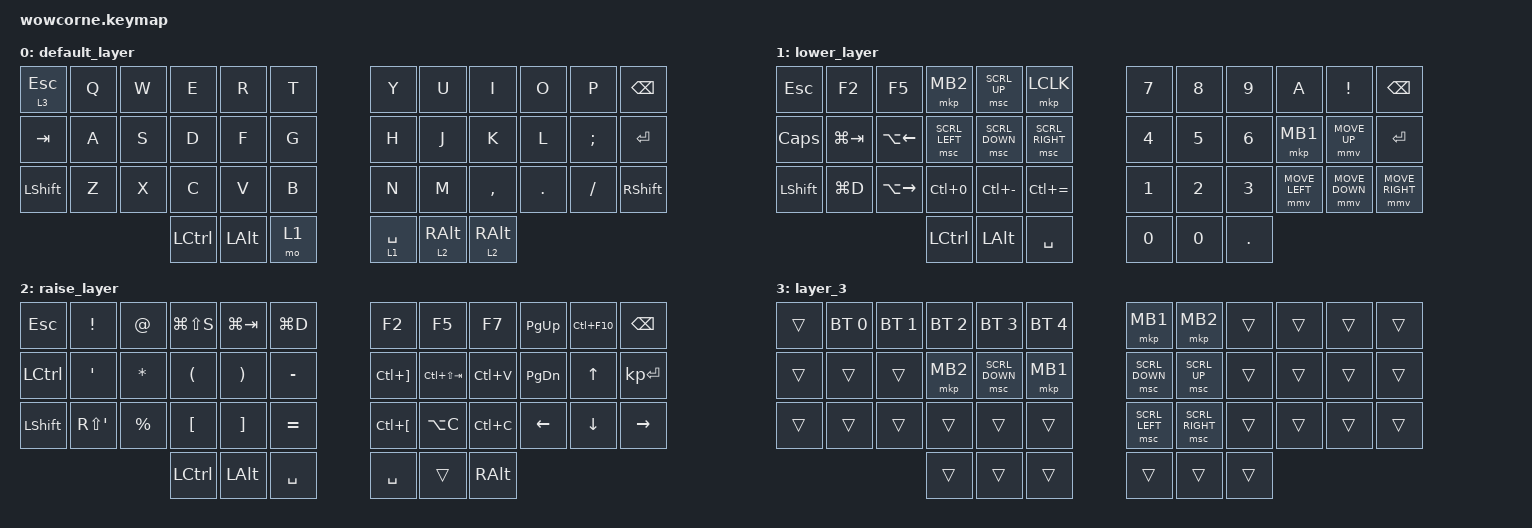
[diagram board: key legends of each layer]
/*
 * Copyright (c) 2020 The ZMK Contributors
 *
 * SPDX-License-Identifier: MIT
 */

#include <dt-bindings/zmk/mouse.h>
#include <behaviors.dtsi>
#include <dt-bindings/zmk/keys.h>
#include <dt-bindings/zmk/bt.h>
#include <behaviors/mouse_keys.dtsi>


#define WIN 0
#define MAC 1
#define NAV 2
#define SYM 3
#define FN 4
#define CFG 5
#define MSE 6

//universial keycodes

#define L_SYM &mo SYM
#define L_FN  &mo FN
#define L_CFG &mo CFG
#define L_NAV &mo NAV
#define L_MSE &mo MSE
#define TAB_C &kp LC(TAB)
#define LT_SPACE &lt MSE SPACE

// winos keycodes
#define WHF &hm LCTRL F
#define WHD &hm LALT D
#define WHJ &hm RCTRL J
#define WHK &hm RALT K
#define LANGW &mt RSHFT RALT
#define ESCW &mt LGUI ESC


// macos keycodes
#define MHF &hm LGUI F
#define MHD &hm LALT D
#define MHJ &hm RGUI J
#define MHK &hm RALT K
#define OBS &hm LA(LSFT) A
#define OBS_C &hm LC(LA(LSFT)) A
#define LANGM &mt RALT LC(SPACE)
#define ESCM &mt LCTRL ESC


&mt {
    tapping-term-ms = <100>;
};
/ {
     behaviors {
        hm: homerow_mods {
            compatible = "zmk,behavior-hold-tap";
            #binding-cells = <2>;
            tapping-term-ms = <150>;
            quick-tap-ms = <0>;
            flavor = "tap-preferred";
            bindings = <&kp>, <&kp>;
        };
 };

    combos {
        compatible = "zmk,combos";

        a-ad {
            bindings = <&kp LEFT_WIN>;
            key-positions = <36 37>;
        };

        a-zk {
            bindings = <&kp B>;
            key-positions = <30 31>;
        };

        a-zew {
            bindings = <&kp LEFT_PARENTHESIS>;
            key-positions = <9 8>;
        };

        a-zklw {
            bindings = <&kp RIGHT_PARENTHESIS>;
            key-positions = <10 9>;
        };

        z-dkf {
            bindings = <&kp C_VOLUME_UP>;
            key-positions = <6 18>;
        };

        z-dkfj {
            bindings = <&kp C_VOLUME_DOWN>;
            key-positions = <18 30>;
        };

        z-dkfjgd {
            bindings = <&kp C_BRI_UP>;
            key-positions = <7 19>;
        };

        z-dkfjgfg {
            bindings = <&kp C_BRIGHTNESS_DEC>;
            key-positions = <19 31>;
        };

        z-kdjfk {
            bindings = <&kp LC(LS(TAB))>;
            key-positions = <13 1>;
        };

        z-dsflkl {
            bindings = <&kp LC(TAB)>;
            key-positions = <14 2>;
        };

        s-sdfkfl {
            bindings = <&kp LC(W)>;
            key-positions = <1 2>;
        };

        z-sdflkfkfg {
            bindings = <&kp LC(T)>;
            key-positions = <4 5>;
        };

        z-dkfkfj {
            bindings = <&kp K_BACK>;
            key-positions = <25 13>;
        };

        z-kdfjg {
            bindings = <&kp K_FORWARD>;
            key-positions = <27 15>;
        };

        z-dkfjg {
            bindings = <&kp SQT>;
            key-positions = <21 22>;
        };

        dkdjf {
            bindings = <&kp LA(LEFT)>;
            key-positions = <2 3>;
        };

        kfdjgk {
            bindings = <&kp LA(RIGHT)>;
            key-positions = <3 4>;
        };

        exit {
            bindings = <&kp LA(F4)>;
            key-positions = <0 11>;
        };

        amfruf {
            bindings = <&kp TILDE>;
            key-positions = <0 1>;
        };

        dkdkdkdk {
            bindings = <&kp DOUBLE_QUOTES>;
            key-positions = <22 23>;
        };

        enter {
            bindings = <&kp ENTER>;
            key-positions = <19 20>;
        };

        backspace {
            bindings = <&kp BACKSPACE>;
            key-positions = <7 8>;
        };

        delete {
            bindings = <&kp DELETE>;
            key-positions = <9 10>;
        };
    };

    behaviors {
        new_behavior: new_behavior {
            compatible = "zmk,behavior-mouse-key-press";
            label = "NEW_BEHAVIOR";
            #binding-cells = <1>;
        };
    };



    keymap {
        compatible = "zmk,keymap";

        default_layer {
            // -----------------------------------------------------------------------------------------
            // |  ESC |  Q  |  W  |  E  |  R  |  T  |   |  Y  |  U   |  I  |  O  |  P  | BSPC |
            // | TAB  |  A  |  S  |  D  |  F  |  G  |   |  H  |  J   |  K  |  L  |  ;  | ENTER|
            // | LCTRL|  Z  |  X  |  C  |  V  |  B  |   |  N  |  M   |  ,  |  .  |  /  | RSHFT|
            //                    |LCTRL| LALT| SP |   | SPACE | RSE  | RALT |

            bindings = <
&lt 3 ESC  &kp Q  &kp W  &kp E      &kp R         &kp T    &kp Y        &kp U       &kp I       &kp O       &kp P          &kp BACKSPACE
&kp TAB    &kp A  &kp S  &kp D      &kp F         &kp G    &kp H        &kp J       &kp K       &kp L       &kp SEMICOLON  &kp ENTER
&kp LSHFT  &kp Z  &kp X  &kp C      &kp V         &kp B    &kp N        &kp M       &kp COMMA   &kp PERIOD  &kp SLASH      &kp RSHFT
                         &kp LCTRL  &kp LEFT_ALT  &mo 1    &lt 1 SPACE  &lt 2 RALT  &lt 2 RALT
            >;
        };

        lower_layer {
            // -----------------------------------------------------------------------------------------
            // |  TAB |  1  |  2  |  3  |  4  |  5  |   |  6  |  7  |  8  |  9  |  0  | BSPC |
            // | BTCLR| BT1 | BT2 | BT3 | BT4 | BT5 |   | LFT | DWN |  UP | RGT |     |      |
            // | SHFT |     |     |     |     |     |   |     |     |     |     |     |      |
            //                    | GUI |     | SPC |   | ENT |     | ALT |

            bindings = <
&kp ESCAPE  &kp F2       &kp F5         &mkp MB2        &msc SCRL_UP    &mkp LCLK          &kp N7        &kp N8        &kp N9        &kp A           &kp EXCLAMATION  &kp BSPC
&kp CAPS    &kp LG(TAB)  &kp LA(LEFT)   &msc SCRL_LEFT  &msc SCRL_DOWN  &msc SCRL_RIGHT    &kp NUMBER_4  &kp N5        &kp NUMBER_6  &mkp MB1        &mmv MOVE_UP     &kp ENTER
&kp LSHFT   &kp LG(D)    &kp LA(RIGHT)  &kp LC(N0)      &kp LC(MINUS)   &kp LC(EQUAL)      &kp NUMBER_1  &kp NUMBER_2  &kp NUMBER_3  &mmv MOVE_LEFT  &mmv MOVE_DOWN   &mmv MOVE_RIGHT
                                        &kp LCTRL       &kp LEFT_ALT    &kp SPACE          &kp N0        &kp N0        &kp PERIOD
            >;
        };

        raise_layer {
            // -----------------------------------------------------------------------------------------
            // |  TAB |  !  |  @  |  #  |  $  |  %  |   |  ^  |  &  |  *  |  (  |  )  | BSPC |
            // | CTRL |     |     |     |     |     |   |  -  |  =  |  [  |  ]  |  \  |  `   |
            // | SHFT |     |     |     |     |     |   |  _  |  +  |  {  |  }  | "|" |  ~   |
            //                    | GUI |     | SPC |   | ENT |     | ALT |

            bindings = <
&kp ESCAPE  &kp EXCL     &kp AT        &kp LG(LS(S))         &kp LG(TAB)            &kp LG(D)    &kp F2                 &kp F5           &kp F7     &kp PAGE_UP    &kp LC(F10)   &kp BSPC
&kp LCTRL   &kp SQT      &kp ASTERISK  &kp LEFT_PARENTHESIS  &kp RIGHT_PARENTHESIS  &kp MINUS    &kp LC(RIGHT_BRACKET)  &kp LC(LS(TAB))  &kp LC(V)  &kp PAGE_DOWN  &kp UP_ARROW  &kp KP_ENTER
&kp LSHFT   &kp RS(SQT)  &kp PERCENT   &kp LEFT_BRACKET      &kp RIGHT_BRACKET      &kp EQUAL    &kp LC(LEFT_BRACKET)   &kp LA(C)        &kp LC(C)  &kp LEFT       &kp DOWN      &kp RIGHT_ARROW
                                       &kp LCTRL             &kp LEFT_ALT           &kp SPACE    &kp SPACE              &trans           &kp RALT
            >;
        };

        layer_3 {
            bindings = <
&trans  &bt BT_SEL 0  &bt BT_SEL 1  &bt BT_SEL 2  &bt BT_SEL 3    &bt BT_SEL 4    &mkp MB1        &mkp MB2         &trans  &trans  &trans  &trans
&trans  &trans        &trans        &mkp MB2      &msc SCRL_DOWN  &mkp MB1        &msc SCRL_DOWN  &msc SCRL_UP     &trans  &trans  &trans  &trans
&trans  &trans        &trans        &trans        &trans          &trans          &msc SCRL_LEFT  &msc SCRL_RIGHT  &trans  &trans  &trans  &trans
                                    &trans        &trans          &trans          &trans          &trans           &trans
            >;
        };
    };
};
